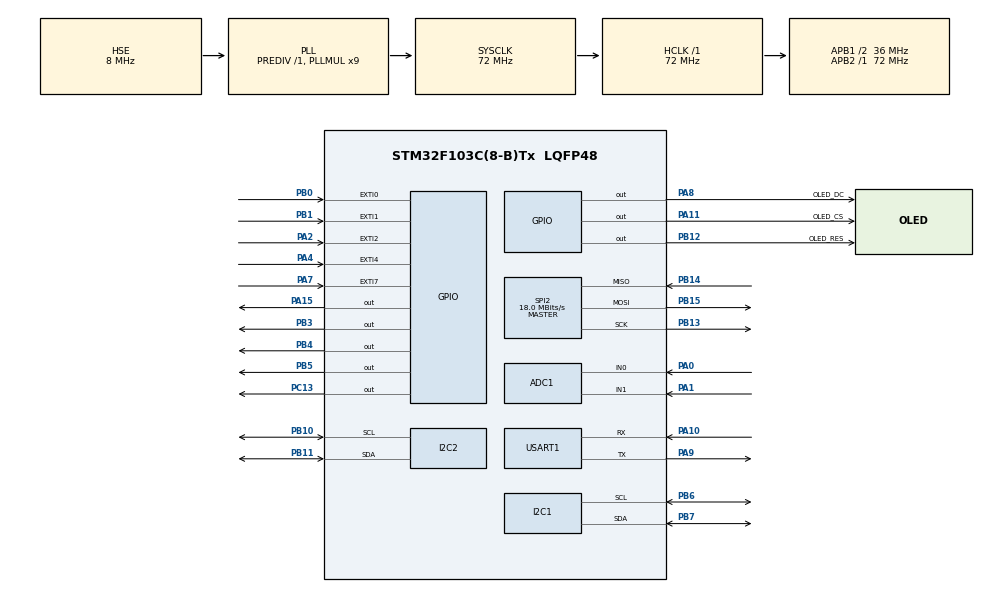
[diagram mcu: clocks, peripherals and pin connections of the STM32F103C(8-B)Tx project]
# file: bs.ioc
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ADC1.Channel-0\#ChannelRegularConversion=ADC_CHANNEL_0
ADC1.ContinuousConvMode=DISABLE
ADC1.NbrOfConversion=1
ADC1.NbrOfConversionFlag=1
ADC1.Rank-0\#ChannelRegularConversion=1
ADC1.SamplingTime-0\#ChannelRegularConversion=ADC_SAMPLETIME_1CYCLE_5
ADC1.master=1
FREERTOS.Mutexes01=ElectricDataMutex,Dynamic,NULL,Available
FREERTOS.Queues01=EncoderQueue,10,uint8_t,0,Dynamic,NULL,NULL;EspRxQueue,256,uint8_t,0,Dynamic,NULL,NULL;KeyQueue,10,uint8_t,0,Dynamic,NULL,NULL
FREERTOS.Tasks01=menu,24,256,MenuTask,As weak,NULL,Dynamic,NULL,NULL;Collection,32,256,CollectionTask,As external,NULL,Dynamic,NULL,NULL;button,24,128,ButtonTask,As external,NULL,Dynamic,NULL,NULL;Esp,24,256,EspTask,As external,NULL,Dynamic,NULL,NULL
FREERTOS.configCHECK_FOR_STACK_OVERFLOW=2
FREERTOS.configTOTAL_HEAP_SIZE=8192
Mcu.Family=STM32F1
Mcu.Name=STM32F103C(8-B)Tx
Mcu.Package=LQFP48
NVIC.EXTI0_IRQn=true\:5\:0\:true\:false\:true\:true\:true\:true\:true
NVIC.EXTI1_IRQn=true\:5\:0\:true\:false\:true\:true\:true\:true\:true
NVIC.EXTI2_IRQn=true\:5\:0\:false\:false\:true\:true\:true\:true\:true
NVIC.EXTI4_IRQn=true\:5\:0\:false\:false\:true\:true\:true\:true\:true
NVIC.EXTI9_5_IRQn=true\:5\:0\:false\:false\:true\:true\:true\:true\:true
NVIC.PriorityGroup=NVIC_PRIORITYGROUP_4
NVIC.TIM2_IRQn=true\:5\:0\:false\:false\:true\:true\:true\:true\:true
NVIC.TIM4_IRQn=true\:15\:0\:false\:false\:true\:false\:false\:true\:true
NVIC.TimeBase=TIM4_IRQn
NVIC.TimeBaseIP=TIM4
NVIC.USART1_IRQn=true\:5\:0\:false\:false\:true\:true\:true\:true\:true
PA0-WKUP.Signal=ADCx_IN0
PA1.Signal=ADCx_IN1
PA10.Mode=Asynchronous
PA10.Signal=USART1_RX
PA11.GPIO_Label=OLED_CS
PA11.GPIO_PuPd=GPIO_PULLUP
PA11.GPIO_Speed=GPIO_SPEED_FREQ_HIGH
PA11.Signal=GPIO_Output
PA13.Mode=Serial_Wire
PA13.Signal=SYS_JTMS-SWDIO
PA14.Mode=Serial_Wire
PA14.Signal=SYS_JTCK-SWCLK
PA15.GPIO_Speed=GPIO_SPEED_FREQ_LOW
PA15.Signal=GPIO_Output
PA2.GPIO_ModeDefaultEXTI=GPIO_MODE_IT_FALLING
PA2.GPIO_PuPd=GPIO_PULLUP
PA2.Signal=GPXTI2
PA4.GPIO_PuPd=GPIO_PULLUP
PA4.Signal=GPXTI4
PA7.GPIO_PuPd=GPIO_PULLUP
PA7.Signal=GPXTI7
PA8.GPIO_Label=OLED_DC
PA8.GPIO_PuPd=GPIO_PULLUP
PA8.GPIO_Speed=GPIO_SPEED_FREQ_HIGH
PA8.Signal=GPIO_Output
PA9.Mode=Asynchronous
PA9.Signal=USART1_TX
PB0.GPIO_PuPd=GPIO_PULLUP
PB0.Signal=GPXTI0
PB1.GPIO_PuPd=GPIO_PULLUP
PB1.Signal=GPXTI1
PB10.Mode=I2C
PB10.Signal=I2C2_SCL
PB11.Mode=I2C
PB11.Signal=I2C2_SDA
PB12.GPIO_Label=OLED_RES
PB12.GPIO_PuPd=GPIO_PULLUP
PB12.GPIO_Speed=GPIO_SPEED_FREQ_HIGH
PB12.Signal=GPIO_Output
PB13.Mode=Full_Duplex_Master
PB13.Signal=SPI2_SCK
PB14.Mode=Full_Duplex_Master
PB14.Signal=SPI2_MISO
PB15.Mode=Full_Duplex_Master
PB15.Signal=SPI2_MOSI
PB3.GPIO_Speed=GPIO_SPEED_FREQ_LOW
PB3.PinState=GPIO_PIN_RESET
PB3.Signal=GPIO_Output
PB4.PinState=GPIO_PIN_RESET
PB4.Signal=GPIO_Output
PB5.PinState=GPIO_PIN_RESET
PB5.Signal=GPIO_Output
PB6.Mode=I2C
PB6.Signal=I2C1_SCL
PB7.Mode=I2C
PB7.Signal=I2C1_SDA
PC13-TAMPER-RTC.GPIO_Speed=GPIO_SPEED_FREQ_LOW
PC13-TAMPER-RTC.Signal=GPIO_Output
PC14-OSC32_IN.Mode=LSE-External-Oscillator
PC14-OSC32_IN.Signal=RCC_OSC32_IN
PC15-OSC32_OUT.Mode=LSE-External-Oscillator
PC15-OSC32_OUT.Signal=RCC_OSC32_OUT
PD0-OSC_IN.Mode=HSE-External-Oscillator
PD0-OSC_IN.Signal=RCC_OSC_IN
PD1-OSC_OUT.Mode=HSE-External-Oscillator
PD1-OSC_OUT.Signal=RCC_OSC_OUT
ProjectManager.HeapSize=0x200
ProjectManager.StackSize=0x400
ProjectManager.TargetToolchain=CMake
RCC.ADCPresc=RCC_ADCPCLK2_DIV6
RCC.AHBFreq_Value=72000000
RCC.APB1CLKDivider=RCC_HCLK_DIV2
RCC.APB1Freq_Value=36000000
RCC.APB1TimFreq_Value=72000000
RCC.APB2Freq_Value=72000000
RCC.APB2TimFreq_Value=72000000
RCC.HCLKFreq_Value=72000000
RCC.PLLMUL=RCC_PLL_MUL9
RCC.PLLSourceVirtual=RCC_PLLSOURCE_HSE
RCC.SYSCLKFreq_VALUE=72000000
RCC.SYSCLKSource=RCC_SYSCLKSOURCE_PLLCLK
RCC.USBFreq_Value=72000000
SH.ADCx_IN0.0=ADC1_IN0,IN0
SH.ADCx_IN1.0=ADC1_IN1,IN1
SPI2.BaudRatePrescaler=SPI_BAUDRATEPRESCALER_2
SPI2.CalculateBaudRate=18.0 MBits/s
SPI2.Direction=SPI_DIRECTION_2LINES
SPI2.Mode=SPI_MODE_MASTER
SPI2.VirtualType=VM_MASTER
TIM2.AutoReloadPreload=TIM_AUTORELOAD_PRELOAD_ENABLE
TIM2.Period=999
TIM2.Prescaler=71
USART1.VirtualMode=VM_ASYNC
VP_FREERTOS_VS_CMSIS_V2.Mode=CMSIS_V2
VP_SYS_VS_tim4.Mode=TIM4
VP_TIM2_VS_ClockSourceINT.Mode=Internal
board=custom

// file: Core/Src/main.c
/* USER CODE BEGIN Header */
/**
  ******************************************************************************
  * @file           : main.c
  * @brief          : Main program body
  ******************************************************************************
  * @attention
  *
  * Copyright (c) 2026 STMicroelectronics.
  * All rights reserved.
  *
  * This software is licensed under terms that can be found in the LICENSE file
  * in the root directory of this software component.
  * If no LICENSE file comes with this software, it is provided AS-IS.
  *
  ******************************************************************************
  */
/* USER CODE END Header */
#include "main.h"
#include "cmsis_os.h"
#include "adc.h"
#include "i2c.h"
#include "spi.h"
#include "tim.h"
#include "usart.h"
#include "gpio.h"

/* USER CODE BEGIN Includes */
#include "oled.h"
#include "Type.h"
#include "INA226.h"
#include "menu.h"
#include "esp01s.h"
/* USER CODE END Includes */

void SystemClock_Config(void);
void MX_FREERTOS_Init(void);

/* USER CODE BEGIN 0 */
extern uint8_t blink;
// extern uint8_t aRxBuffer1;
/* USER CODE END 0 */

int main(void)
{

  /* MCU Configuration--------------------------------------------------------*/

  /* Reset of all peripherals, Initializes the Flash interface and the Systick. */
  HAL_Init();

  /* Configure the system clock */
  SystemClock_Config();

  /* Initialize all configured peripherals */
  MX_GPIO_Init();
  MX_ADC1_Init();
  MX_I2C1_Init();
  MX_I2C2_Init();
  MX_SPI2_Init();
  MX_USART1_UART_Init();
  MX_TIM2_Init();
  /* USER CODE BEGIN 2 */
  HAL_TIM_Base_Start_IT(&htim2);
  // HAL_UART_Receive_IT(&huart1,&aRxBuffer1,1); //使能串口接收中断
  INA226_init();
  OLED_Init();
  OLED_DisPlay_On();
  OLED_ColorTurn(0);//0正常显示，1 反色显示
  OLED_DisplayTurn(0);//0正常显示 1 屏幕翻转显示
  OLED_Refresh();
  // HuaweiIot_init();
  /* USER CODE END 2 */

  /* Init scheduler */
  osKernelInitialize();  /* Call init function for freertos objects (in cmsis_os2.c) */
  MX_FREERTOS_Init();

  /* Start scheduler */
  osKernelStart();

  /* We should never get here as control is now taken by the scheduler */

  /* Infinite loop */
  while (1)
  {

  }
}

void SystemClock_Config(void)
{
  RCC_OscInitTypeDef RCC_OscInitStruct = {0};
  RCC_ClkInitTypeDef RCC_ClkInitStruct = {0};
  RCC_PeriphCLKInitTypeDef PeriphClkInit = {0};

  /** Initializes the RCC Oscillators according to the specified parameters
  * in the RCC_OscInitTypeDef structure.
  */
  RCC_OscInitStruct.OscillatorType = RCC_OSCILLATORTYPE_HSE;
  RCC_OscInitStruct.HSEState = RCC_HSE_ON;
  RCC_OscInitStruct.HSEPredivValue = RCC_HSE_PREDIV_DIV1;
  RCC_OscInitStruct.HSIState = RCC_HSI_ON;
  RCC_OscInitStruct.PLL.PLLState = RCC_PLL_ON;
  RCC_OscInitStruct.PLL.PLLSource = RCC_PLLSOURCE_HSE;
  RCC_OscInitStruct.PLL.PLLMUL = RCC_PLL_MUL9;
  if (HAL_RCC_OscConfig(&RCC_OscInitStruct) != HAL_OK)
  {
    Error_Handler();
  }

  /** Initializes the CPU, AHB and APB buses clocks
  */
  RCC_ClkInitStruct.ClockType = RCC_CLOCKTYPE_HCLK|RCC_CLOCKTYPE_SYSCLK
                              |RCC_CLOCKTYPE_PCLK1|RCC_CLOCKTYPE_PCLK2;
  RCC_ClkInitStruct.SYSCLKSource = RCC_SYSCLKSOURCE_PLLCLK;
  RCC_ClkInitStruct.AHBCLKDivider = RCC_SYSCLK_DIV1;
  RCC_ClkInitStruct.APB1CLKDivider = RCC_HCLK_DIV2;
  RCC_ClkInitStruct.APB2CLKDivider = RCC_HCLK_DIV1;

  if (HAL_RCC_ClockConfig(&RCC_ClkInitStruct, FLASH_LATENCY_2) != HAL_OK)
  {
    Error_Handler();
  }
  PeriphClkInit.PeriphClockSelection = RCC_PERIPHCLK_ADC;
  PeriphClkInit.AdcClockSelection = RCC_ADCPCLK2_DIV6;
  if (HAL_RCCEx_PeriphCLKConfig(&PeriphClkInit) != HAL_OK)
  {
    Error_Handler();
  }
}

void HAL_TIM_PeriodElapsedCallback(TIM_HandleTypeDef *htim)
{
  /* USER CODE BEGIN Callback 0 */
  BaseType_t xHigherPriorityTaskWoken = pdFALSE;
	static int16_t i,j;
	if (htim == (&htim2))
	{
		i++;j++;
	if(i>=500)
	{
     i=0;
    blink = !blink;
    if(menuHandle != NULL)
        {
    vTaskNotifyGiveFromISR(menuHandle, &xHigherPriorityTaskWoken);
        }
    portYIELD_FROM_ISR(xHigherPriorityTaskWoken);
	}
	// if(j>=20)
	// {
	// j=0;
    //  jdq_kz();
    //  key_Loop();
	}
  /* USER CODE END Callback 0 */
  if (htim->Instance == TIM4)
  {
    HAL_IncTick();
  }
}

void Error_Handler(void)
{
  __disable_irq();
  while (1)
  {
  }
}

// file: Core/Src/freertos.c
/* USER CODE BEGIN Header */
/**
  ******************************************************************************
  * File Name          : freertos.c
  * Description        : Code for freertos applications
  ******************************************************************************
  * @attention
  *
  * Copyright (c) 2026 STMicroelectronics.
  * All rights reserved.
  *
  * This software is licensed under terms that can be found in the LICENSE file
  * in the root directory of this software component.
  * If no LICENSE file comes with this software, it is provided AS-IS.
  *
  ******************************************************************************
  */
/* USER CODE END Header */

#include "FreeRTOS.h"
#include "task.h"
#include "main.h"
#include "cmsis_os.h"

/* USER CODE BEGIN Includes */
#include "Type.h"
/* USER CODE END Includes */

/* Definitions for menu */
osThreadId_t menuHandle;
const osThreadAttr_t menu_attributes = {
  .name = "menu",
  .stack_size = 256 * 4,
  .priority = (osPriority_t) osPriorityNormal,
};
/* Definitions for Collection */
osThreadId_t CollectionHandle;
const osThreadAttr_t Collection_attributes = {
  .name = "Collection",
  .stack_size = 256 * 4,
  .priority = (osPriority_t) osPriorityAboveNormal,
};
/* Definitions for button */
osThreadId_t buttonHandle;
const osThreadAttr_t button_attributes = {
  .name = "button",
  .stack_size = 128 * 4,
  .priority = (osPriority_t) osPriorityNormal,
};
/* Definitions for Esp */
osThreadId_t EspHandle;
const osThreadAttr_t Esp_attributes = {
  .name = "Esp",
  .stack_size = 256 * 4,
  .priority = (osPriority_t) osPriorityNormal,
};
/* Definitions for EncoderQueue */
osMessageQueueId_t EncoderQueueHandle;
const osMessageQueueAttr_t EncoderQueue_attributes = {
  .name = "EncoderQueue"
};
/* Definitions for EspRxQueue */
osMessageQueueId_t EspRxQueueHandle;
const osMessageQueueAttr_t EspRxQueue_attributes = {
  .name = "EspRxQueue"
};
/* Definitions for KeyQueue */
osMessageQueueId_t KeyQueueHandle;
const osMessageQueueAttr_t KeyQueue_attributes = {
  .name = "KeyQueue"
};
/* Definitions for ElectricDataMutex */
osMutexId_t ElectricDataMutexHandle;
const osMutexAttr_t ElectricDataMutex_attributes = {
  .name = "ElectricDataMutex"
};

void MenuTask(void *argument);
extern void CollectionTask(void *argument);
extern void ButtonTask(void *argument);
extern void EspTask(void *argument);

void MX_FREERTOS_Init(void); /* (MISRA C 2004 rule 8.1) */

/* Hook prototypes */
void vApplicationStackOverflowHook(xTaskHandle xTask, signed char *pcTaskName);

/* USER CODE BEGIN 4 */
void vApplicationStackOverflowHook(xTaskHandle xTask, signed char *pcTaskName)
{
   /* Run time stack overflow checking is performed if
   configCHECK_FOR_STACK_OVERFLOW is defined to 1 or 2. This hook function is
   called if a stack overflow is detected. */
}
/* USER CODE END 4 */

void MX_FREERTOS_Init(void) {
  /* Create the mutex(es) */
  /* creation of ElectricDataMutex */
  ElectricDataMutexHandle = osMutexNew(&ElectricDataMutex_attributes);

  /* Create the queue(s) */
  /* creation of EncoderQueue */
  EncoderQueueHandle = osMessageQueueNew (10, sizeof(uint8_t), &EncoderQueue_attributes);

  /* creation of EspRxQueue */
  EspRxQueueHandle = osMessageQueueNew (256, sizeof(uint8_t), &EspRxQueue_attributes);

  /* creation of KeyQueue */
  KeyQueueHandle = osMessageQueueNew (10, sizeof(uint8_t), &KeyQueue_attributes);

  /* Create the thread(s) */
  /* creation of menu */
  menuHandle = osThreadNew(MenuTask, NULL, &menu_attributes);

  /* creation of Collection */
  CollectionHandle = osThreadNew(CollectionTask, NULL, &Collection_attributes);

  /* creation of button */
  buttonHandle = osThreadNew(ButtonTask, NULL, &button_attributes);

  /* creation of Esp */
  EspHandle = osThreadNew(EspTask, NULL, &Esp_attributes);

}

__weak void MenuTask(void *argument)
{
  for(;;)
  {
    osDelay(1);
  }
}
